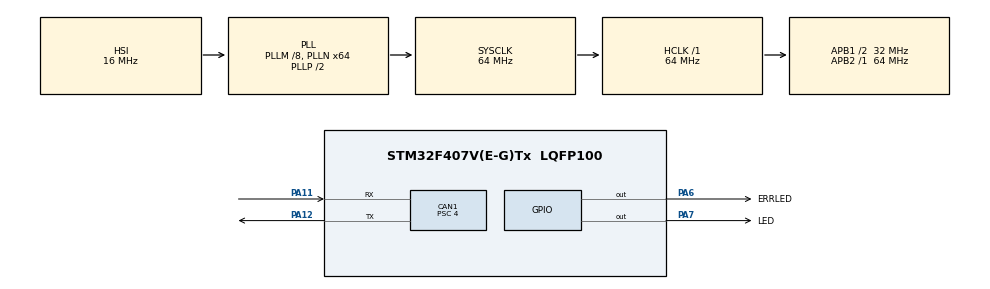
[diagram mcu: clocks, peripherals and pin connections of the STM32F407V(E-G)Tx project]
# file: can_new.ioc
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CAN1.BS1=CAN_BS1_3TQ
CAN1.BS2=CAN_BS2_4TQ
CAN1.CalculateBaudRate=1000000
CAN1.CalculateTimeBit=1000
CAN1.CalculateTimeQuantum=125.0
CAN1.Prescaler=4
Mcu.Family=STM32F4
Mcu.Name=STM32F407V(E-G)Tx
Mcu.Package=LQFP100
NVIC.CAN1_RX0_IRQn=true\:0\:0\:false\:false\:true\:true\:true\:true
NVIC.CAN1_TX_IRQn=true\:0\:0\:false\:false\:true\:true\:true\:true
NVIC.PriorityGroup=NVIC_PRIORITYGROUP_4
NVIC.TIM1_UP_TIM10_IRQn=true\:0\:0\:false\:false\:true\:true\:true\:true
PA11.Mode=CAN_Activate
PA11.Signal=CAN1_RX
PA12.Mode=CAN_Activate
PA12.Signal=CAN1_TX
PA13.Mode=Serial_Wire
PA13.Signal=SYS_JTMS-SWDIO
PA14.Mode=Serial_Wire
PA14.Signal=SYS_JTCK-SWCLK
PA6.GPIO_Label=ERRLED
PA6.Signal=GPIO_Output
PA7.GPIO_Label=LED
PA7.Signal=GPIO_Output
ProjectManager.HeapSize=0x200
ProjectManager.StackSize=0x400
ProjectManager.TargetToolchain=MDK-ARM V5.32
RCC.48MHZClocksFreq_Value=32000000
RCC.AHBFreq_Value=64000000
RCC.APB1CLKDivider=RCC_HCLK_DIV2
RCC.APB1Freq_Value=32000000
RCC.APB1TimFreq_Value=64000000
RCC.APB2Freq_Value=64000000
RCC.APB2TimFreq_Value=64000000
RCC.CortexFreq_Value=64000000
RCC.HCLKFreq_Value=64000000
RCC.HSE_VALUE=25000000
RCC.HSI_VALUE=16000000
RCC.LSE_VALUE=32768
RCC.PLLM=8
RCC.PLLN=64
RCC.SYSCLKFreq_VALUE=64000000
RCC.SYSCLKSource=RCC_SYSCLKSOURCE_PLLCLK
RCC.VCOOutputFreq_Value=128000000
TIM1.AutoReloadPreload=TIM_AUTORELOAD_PRELOAD_ENABLE
TIM1.Period=50000
TIM1.Prescaler=639
VP_TIM1_VS_ClockSourceITR.Mode=TriggerSource_ITR0
VP_TIM1_VS_ControllerModeClock.Mode=Clock Mode
board=custom

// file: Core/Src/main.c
/* USER CODE BEGIN Header */
/**
  ******************************************************************************
  * @file           : main.c
  * @brief          : Main program body
  ******************************************************************************
  * @attention
  *
  * Copyright (c) 2023 STMicroelectronics.
  * All rights reserved.
  *
  * This software is licensed under terms that can be found in the LICENSE file
  * in the root directory of this software component.
  * If no LICENSE file comes with this software, it is provided AS-IS.
  *
  ******************************************************************************
  */
/* USER CODE END Header */
#include "main.h"

/* USER CODE BEGIN PD */

//void HAL_CAN_RxFifo0MsgPendingCallback(CAN_HandleTypeDef *hcan);
/* USER CODE END PD */

CAN_HandleTypeDef hcan1;

TIM_HandleTypeDef htim1;

void SystemClock_Config(void);
static void MX_GPIO_Init(void);
static void MX_CAN1_Init(void);
static void MX_TIM1_Init(void);
/* USER CODE BEGIN PFP */
void TransmitFlag(void);
/* USER CODE END PFP */

int main(void)
{
  /* USER CODE BEGIN 1 */
	__enable_irq();
  /* USER CODE END 1 */

  /* MCU Configuration--------------------------------------------------------*/

  /* Reset of all peripherals, Initializes the Flash interface and the Systick. */
  HAL_Init();

  /* Configure the system clock */
  SystemClock_Config();

  /* Initialize all configured peripherals */
  MX_GPIO_Init();
  MX_CAN1_Init();
  MX_TIM1_Init();
  /* USER CODE BEGIN 2 */
  //__HAL_CAN_ENABLE_IT(&hcan1, CAN_TSR_TME);
  //__HAL_CAN_ENABLE_IT(&hcan1, CAN_IT_RQCP0);
  //TransmitFlag(); //тестовая отправка кадра(выполняется)
  /* USER CODE END 2 */

  /* Infinite loop */
  while (1)
  {

    /* USER CODE BEGIN 3 */

	  TransmitFlag();
	  HAL_Delay(500);
  };
  /* USER CODE END 3 */
}

void SystemClock_Config(void)
{
  RCC_OscInitTypeDef RCC_OscInitStruct = {0};
  RCC_ClkInitTypeDef RCC_ClkInitStruct = {0};

  /** Configure the main internal regulator output voltage
  */
  __HAL_RCC_PWR_CLK_ENABLE();
  __HAL_PWR_VOLTAGESCALING_CONFIG(PWR_REGULATOR_VOLTAGE_SCALE1);

  /** Initializes the RCC Oscillators according to the specified parameters
  * in the RCC_OscInitTypeDef structure.
  */
  RCC_OscInitStruct.OscillatorType = RCC_OSCILLATORTYPE_HSI;
  RCC_OscInitStruct.HSIState = RCC_HSI_ON;
  RCC_OscInitStruct.HSICalibrationValue = RCC_HSICALIBRATION_DEFAULT;
  RCC_OscInitStruct.PLL.PLLState = RCC_PLL_ON;
  RCC_OscInitStruct.PLL.PLLSource = RCC_PLLSOURCE_HSI;
  RCC_OscInitStruct.PLL.PLLM = 8;
  RCC_OscInitStruct.PLL.PLLN = 64;
  RCC_OscInitStruct.PLL.PLLP = RCC_PLLP_DIV2;
  RCC_OscInitStruct.PLL.PLLQ = 4;
  if (HAL_RCC_OscConfig(&RCC_OscInitStruct) != HAL_OK)
  {
    Error_Handler();
  }

  /** Initializes the CPU, AHB and APB buses clocks
  */
  RCC_ClkInitStruct.ClockType = RCC_CLOCKTYPE_HCLK|RCC_CLOCKTYPE_SYSCLK
                              |RCC_CLOCKTYPE_PCLK1|RCC_CLOCKTYPE_PCLK2;
  RCC_ClkInitStruct.SYSCLKSource = RCC_SYSCLKSOURCE_PLLCLK;
  RCC_ClkInitStruct.AHBCLKDivider = RCC_SYSCLK_DIV1;
  RCC_ClkInitStruct.APB1CLKDivider = RCC_HCLK_DIV2;
  RCC_ClkInitStruct.APB2CLKDivider = RCC_HCLK_DIV1;

  if (HAL_RCC_ClockConfig(&RCC_ClkInitStruct, FLASH_LATENCY_2) != HAL_OK)
  {
    Error_Handler();
  }
}

static void MX_CAN1_Init(void)
{

  hcan1.Instance = CAN1;
  hcan1.Init.Prescaler = 4;
  hcan1.Init.Mode = CAN_MODE_NORMAL;
  hcan1.Init.SyncJumpWidth = CAN_SJW_1TQ;
  hcan1.Init.TimeSeg1 = CAN_BS1_3TQ;
  hcan1.Init.TimeSeg2 = CAN_BS2_4TQ;
  hcan1.Init.TimeTriggeredMode = DISABLE;
  hcan1.Init.AutoBusOff = DISABLE;
  hcan1.Init.AutoWakeUp = DISABLE;
  hcan1.Init.AutoRetransmission = DISABLE;
  hcan1.Init.ReceiveFifoLocked = DISABLE;
  hcan1.Init.TransmitFifoPriority = DISABLE;
  if (HAL_CAN_Init(&hcan1) != HAL_OK)
  {
    Error_Handler();
  }
  /* USER CODE BEGIN CAN1_Init 2 */
  CAN_FilterTypeDef canFilterConfig;
  canFilterConfig.FilterBank = 0;
  canFilterConfig.FilterMode = CAN_FILTERMODE_IDMASK;
  canFilterConfig.FilterScale = CAN_FILTERSCALE_32BIT;
  canFilterConfig.FilterIdHigh = 0x0000;
  canFilterConfig.FilterIdLow = 0x0000;
  canFilterConfig.FilterMaskIdHigh = 0x0000;
  canFilterConfig.FilterMaskIdLow = 0x0000;
  canFilterConfig.FilterFIFOAssignment = CAN_RX_FIFO0;
  canFilterConfig.FilterActivation = ENABLE;
  canFilterConfig.SlaveStartFilterBank = 14;
  HAL_CAN_ConfigFilter(&hcan1, &canFilterConfig);
  HAL_CAN_Start(&hcan1);
  HAL_CAN_ActivateNotification(&hcan1, CAN_IT_RX_FIFO0_MSG_PENDING | CAN_IT_TX_MAILBOX_EMPTY);
  /* USER CODE END CAN1_Init 2 */

}

static void MX_TIM1_Init(void)
{

  TIM_SlaveConfigTypeDef sSlaveConfig = {0};
  TIM_MasterConfigTypeDef sMasterConfig = {0};

  htim1.Instance = TIM1;
  htim1.Init.Prescaler = 639;
  htim1.Init.CounterMode = TIM_COUNTERMODE_UP;
  htim1.Init.Period = 50000;
  htim1.Init.ClockDivision = TIM_CLOCKDIVISION_DIV1;
  htim1.Init.RepetitionCounter = 0;
  htim1.Init.AutoReloadPreload = TIM_AUTORELOAD_PRELOAD_ENABLE;
  if (HAL_TIM_Base_Init(&htim1) != HAL_OK)
  {
    Error_Handler();
  }
  sSlaveConfig.SlaveMode = TIM_SLAVEMODE_EXTERNAL1;
  sSlaveConfig.InputTrigger = TIM_TS_ITR0;
  if (HAL_TIM_SlaveConfigSynchro(&htim1, &sSlaveConfig) != HAL_OK)
  {
    Error_Handler();
  }
  sMasterConfig.MasterOutputTrigger = TIM_TRGO_RESET;
  sMasterConfig.MasterSlaveMode = TIM_MASTERSLAVEMODE_DISABLE;
  if (HAL_TIMEx_MasterConfigSynchronization(&htim1, &sMasterConfig) != HAL_OK)
  {
    Error_Handler();
  }

}

static void MX_GPIO_Init(void)
{
  GPIO_InitTypeDef GPIO_InitStruct = {0};

  /* GPIO Ports Clock Enable */
  __HAL_RCC_GPIOA_CLK_ENABLE();

  /*Configure GPIO pin Output Level */
  HAL_GPIO_WritePin(GPIOA, ERRLED_Pin|LED_Pin, GPIO_PIN_RESET);

  /*Configure GPIO pins : ERRLED_Pin LED_Pin */
  GPIO_InitStruct.Pin = ERRLED_Pin|LED_Pin;
  GPIO_InitStruct.Mode = GPIO_MODE_OUTPUT_PP;
  GPIO_InitStruct.Pull = GPIO_NOPULL;
  GPIO_InitStruct.Speed = GPIO_SPEED_FREQ_LOW;
  HAL_GPIO_Init(GPIOA, &GPIO_InitStruct);

}

/* USER CODE BEGIN 4 */
uint32_t COUNT_COS(void) {
	return 1;
}
void TransmitFlag(void) {
  CAN_TxHeaderTypeDef TxMsgHeader;
  uint8_t TxmsgData[1];
  TxmsgData[0] = 0;
  TxMsgHeader.StdId = 0x200;
  TxMsgHeader.DLC = 1;
  TxMsgHeader.TransmitGlobalTime = DISABLE;
  TxMsgHeader.RTR = CAN_RTR_DATA;
  TxMsgHeader.IDE = CAN_ID_STD;
  uint32_t mailBoxNum = 0;
  HAL_CAN_AddTxMessage(&hcan1, &TxMsgHeader,TxmsgData, &mailBoxNum);
}
void HAL_CAN_TxMailbox0CompleteCallback(CAN_HandleTypeDef *hcan) {
  //HAL_GPIO_WritePin(LED_GPIO_Port, LED_Pin, GPIO_PIN_SET);
  HAL_GPIO_TogglePin(LED_GPIO_Port, LED_Pin);
}
void HAL_CAN_RxFifo0MsgPendingCallback(CAN_HandleTypeDef *hcan)
{
  CAN_RxHeaderTypeDef msgHeader;
  uint8_t msgData[8];

  HAL_GPIO_TogglePin(LED_GPIO_Port, ERRLED_Pin);

  HAL_CAN_GetRxMessage(&hcan1, CAN_RX_FIFO0, &msgHeader, msgData);
  //if(msgHeader.RTR == CAN_RTR_REMOTE) {
    TransmitFlag();
  //}
}

/* USER CODE END 4 */

void Error_Handler(void)
{
  /* USER CODE BEGIN Error_Handler_Debug */
  /* User can add his own implementation to report the HAL error return state */
  //__disable_irq();
  while (1)
  {
  }
  /* USER CODE END Error_Handler_Debug */
}
